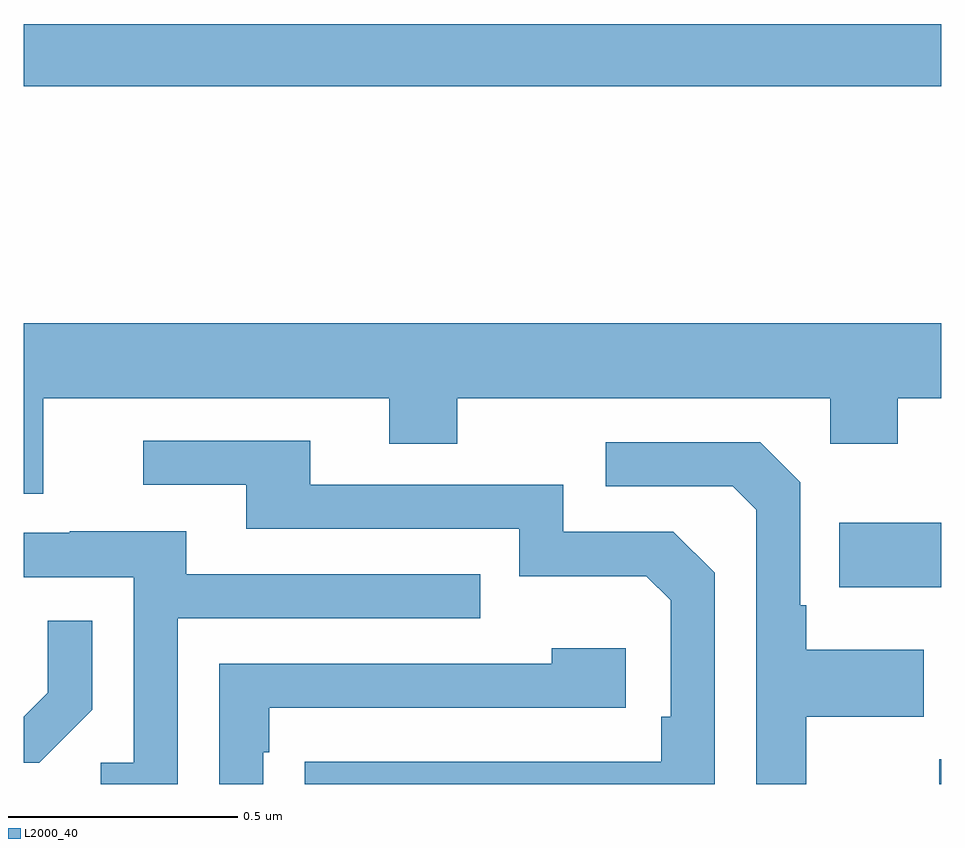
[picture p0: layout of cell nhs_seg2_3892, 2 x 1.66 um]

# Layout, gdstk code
import gdstk
lib = gdstk.Library(unit=1e-6, precision=1e-09)
def R(c, l, rs):  # rectangles x0, y0, x1, y1
    for r in rs: c.add(gdstk.rectangle(r[:2], r[2:], *l))
def P(c, l, *ps):  # polygons
    for p in ps: c.add(gdstk.Polygon(p, *l))
L2000_40 = (2000, 40)

nhs_seg2_3892 = lib.new_cell('nhs_seg2_3892')
R(nhs_seg2_3892, L2000_40, [(160.995,642.8,161,642.854), (160.777,643.229,161,643.369), (159,644.32,161,644.456)])
P(nhs_seg2_3892, L2000_40, [(159.043,643.64),(159.797,643.64),(159.797,643.541),(159.945,643.541),(159.945,643.64),(160.758,643.64),(160.758,643.541),(160.905,643.541),(160.905,643.64),(161,643.64),(161,643.804),(159,643.804),(159,643.432),(159.043,643.432)],
  [(160.506,643.26),(160.416,643.35),(160.176,643.35),(160.176,643.452),(159.625,643.452),(159.625,643.548),(159.261,643.548),(159.261,643.452),(159.485,643.452),(159.485,643.356),(160.08,643.356),(160.08,643.253),(160.357,643.253),(160.41,643.2),(160.41,642.946),(160.39,642.946),(160.39,642.849),(159.715,642.849),(159.715,642.848),(159.613,642.848),(159.613,642.8),(160.506,642.8)],
  [(160.705,642.946),(160.961,642.946),(160.961,643.093),(160.705,643.093),(160.705,643.189),(160.692,643.189),(160.692,643.458),(160.605,643.545),(160.269,643.545),(160.269,643.449),(160.545,643.449),(160.596,643.398),(160.596,642.8),(160.705,642.8)],
  [(159.336,643.161),(159.995,643.161),(159.995,643.257),(159.355,643.257),(159.355,643.351),(159.101,643.351),(159.101,643.347),(159,643.347),(159,643.251),(159.24,643.251),(159.24,642.846),(159.168,642.846),(159.168,642.8),(159.336,642.8)],
  [(159.15,642.962),(159.15,643.156),(159.053,643.156),(159.053,642.999),(159,642.946),(159,642.846),(159.034,642.846)],
  [(159.522,642.869),(159.535,642.869),(159.535,642.966),(160.312,642.966),(160.312,643.096),(160.151,643.096),(160.151,643.062),(159.426,643.062),(159.426,642.8),(159.522,642.8)])

lib.write_gds('nhs_seg2_3892.gds')
